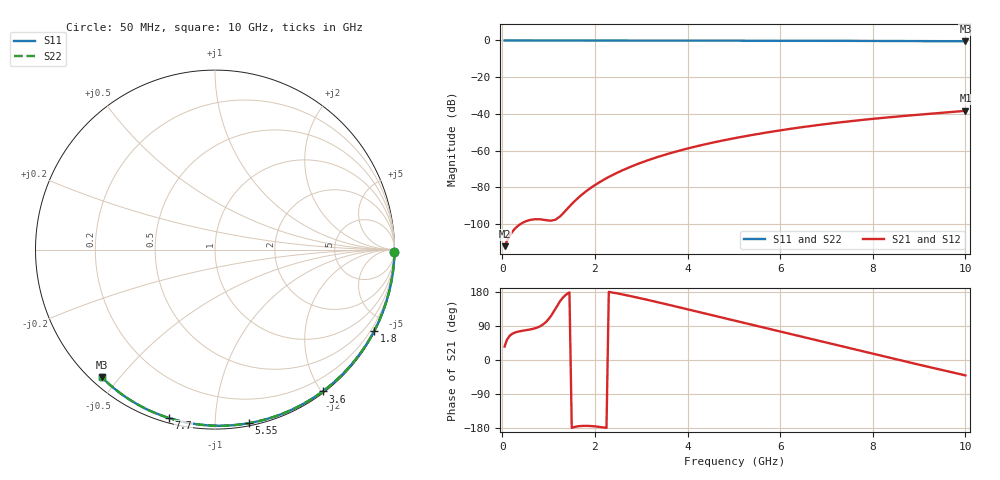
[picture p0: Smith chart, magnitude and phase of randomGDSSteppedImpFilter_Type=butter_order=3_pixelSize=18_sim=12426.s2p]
! freq	dB(S11)	phase(S11)	dB(S12)	phase(S12)
!  dB(S21)	phase(S21)	dB(S22)	phase(S22)
!S-par simulation data
#  GHz  S  DB  R 50
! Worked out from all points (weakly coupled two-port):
!   200 points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, 50 MHz to 10 GHz, reference 50 ohm
!   highest |S21| = -38.32 dB at 10 GHz (marker M1); lowest = -112.0 dB at 50 MHz (marker M2)
!   lowest |S11| = -0.4 dB at 10 GHz (marker M3), VSWR 39.29, Z = 1.53 - j22.4 ohm
!   |S11| at or under -10 dB: nowhere
!   |S22| runs from -0.4 to 0.0 dB; largest |S21 - S12| = 0
!   S11 on the Smith chart (normalised r, x): 50 MHz: open; 1.8 GHz: 0.04, -4.16; 3.6 GHz: 0.02, -2.01; 5.55 GHz: 0.02, -1.22; 7.7 GHz: 0.02, -0.76; 10 GHz: 0.03, -0.45
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0.05  -0.00 -0.8  -112.02 35.5  -112.02 35.5  -0.00 -0.8
0.45  -0.01 -6.8  -99.14 77.4  -99.14 77.4  -0.01 -6.8
0.9  -0.02 -13.6  -97.69 95.8  -97.69 95.8  -0.02 -13.6
1.75  -0.03 -26.3  -83.31 -173.8  -83.31 -173.8  -0.03 -26.3
1.8  -0.03 -27.0  -82.31 -173.7  -82.31 -173.7  -0.03 -27.0
1.9  -0.04 -28.5  -80.46 -174.2  -80.46 -174.2  -0.04 -28.5
1.95  -0.04 -29.2  -79.59 -174.6  -79.59 -174.6  -0.04 -29.2
2.25  -0.04 -33.6  -74.99 -179.2  -74.99 -179.2  -0.04 -33.6
2.55  -0.05 -37.9  -71.20 174.1  -71.20 174.1  -0.05 -37.9
2.95  -0.06 -43.7  -67.01 163.8  -67.01 163.8  -0.06 -43.7
3.4  -0.07 -50.0  -63.10 151.2  -63.10 151.2  -0.07 -50.0
3.6  -0.07 -52.8  -61.58 145.5  -61.58 145.5  -0.07 -52.8
3.9  -0.08 -56.9  -59.49 136.7  -59.49 136.7  -0.08 -56.9
4.3  -0.09 -62.4  -57.00 125.0  -57.00 125.0  -0.09 -62.4
5.05  -0.11 -72.4  -53.04 103.0  -53.04 103.0  -0.11 -72.4
5.55  -0.13 -78.9  -50.79 88.4  -50.79 88.4  -0.13 -78.9
6.1  -0.15 -85.8  -48.58 72.3  -48.58 72.3  -0.15 -85.8
6.7  -0.18 -93.3  -46.44 54.6  -46.44 54.6  -0.18 -93.3
7.7  -0.24 -105.3  -43.46 25.1  -43.46 25.1  -0.24 -105.3
8.35  -0.29 -112.9  -41.84 6.2  -41.84 6.2  -0.29 -112.9
9.15  -0.36 -122.0  -40.09 -16.6  -40.09 -16.6  -0.36 -122.0
10  -0.44 -131.7  -38.32 -40.6  -38.32 -40.6  -0.44 -131.7
